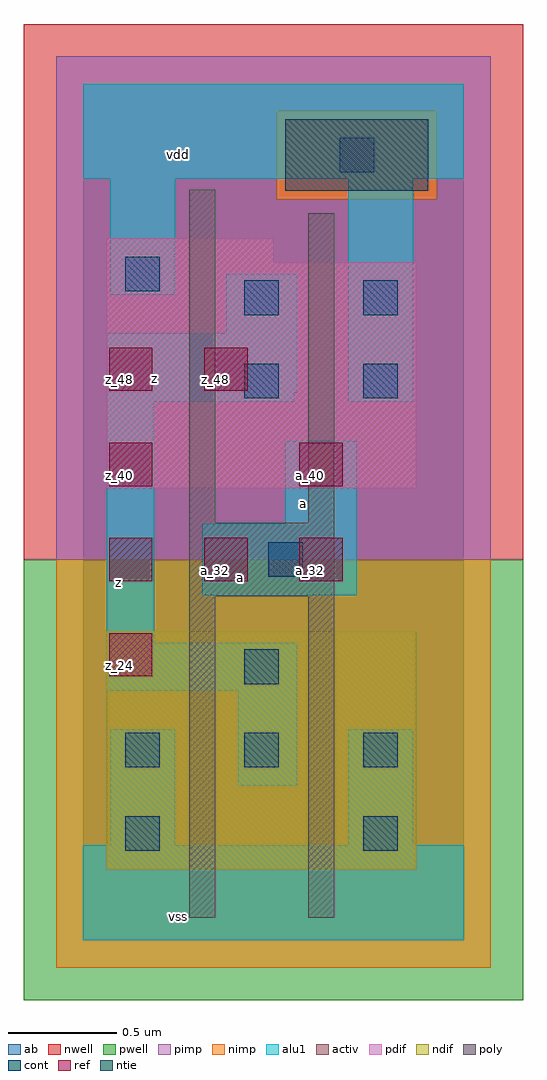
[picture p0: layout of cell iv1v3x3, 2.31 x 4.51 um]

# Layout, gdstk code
import gdstk
lib = gdstk.Library(unit=1e-6, precision=2.5e-09)
def R(c, l, rs):  # rectangles x0, y0, x1, y1
    for r in rs: c.add(gdstk.rectangle(r[:2], r[2:], *l))
def A(c, l, x, y, w, h, nx, ny, dx, dy):  # array of equal rectangles
    R(c, l, [(x+i*dx, y+j*dy, x+i*dx+w, y+j*dy+h) for i in range(nx) for j in range(ny)])
ndif = (3, 0)
pdif = (4, 0)
ntie = (5, 0)
ref = (24, 0)
cont = (25, 0)
pwell = (41, 0)
nwell = (42, 0)
activ = (43, 0)
pimp = (44, 0)
nimp = (45, 0)
poly = (46, 0)
alu1 = (49, 0)
ab = (63, 0)

iv1v3x3 = lib.new_cell('iv1v3x3')
R(iv1v3x3, ndif, [(0.11,0.33,1.54,1.43)])
R(iv1v3x3, pdif, [(0.11,2.09,1.54,3.135), (0.11,3.135,0.88,3.245)])
R(iv1v3x3, ntie, [(0.935,3.465,1.595,3.795)])
A(iv1v3x3, ref, 0.12, 1.66, 0.2, 0.2, 3, 1, 0.44, 0)
R(iv1v3x3, ref, [(0.12,1.22,0.32,1.42), (0.12,2.1,0.32,2.3), (1,2.1,1.2,2.3), (0.12,2.54,0.32,2.74), (0.56,2.54,0.76,2.74)])
A(iv1v3x3, cont, 0.195, 0.8, 0.16, 0.16, 3, 1, 0.55, 0)
R(iv1v3x3, cont, [(0.195,0.415,0.355,0.575), (1.295,0.415,1.455,0.575), (0.745,1.185,0.905,1.345), (0.855,1.68,1.015,1.84), (0.745,2.505,0.905,2.665), (1.295,2.505,1.455,2.665), (0.745,2.89,0.905,3.05), (1.295,2.89,1.455,3.05), (0.195,3,0.355,3.16), (1.185,3.55,1.345,3.71)])
R(iv1v3x3, pwell, [(-0.275,-0.275,2.035,1.76)])
R(iv1v3x3, nwell, [(-0.275,1.76,2.035,4.235)])
R(iv1v3x3, activ, [(0.11,0.33,1.54,1.43), (0.11,2.09,1.54,3.135), (0.11,3.135,0.88,3.245), (0.935,3.465,1.595,3.795)])
R(iv1v3x3, pimp, [(-0.125,1.76,1.885,3.425), (-0.125,3.425,0.895,3.835), (1.635,3.425,1.885,3.835), (-0.125,3.835,1.885,4.085)])
R(iv1v3x3, nimp, [(-0.125,-0.125,1.885,1.76), (0.895,3.425,1.635,3.835)])
R(iv1v3x3, poly, [(0.49,0.105,0.61,1.59), (1.04,0.105,1.16,1.59), (0.49,1.59,1.16,1.93), (0.49,1.93,0.61,3.47), (1.04,1.93,1.16,3.36)])
R(iv1v3x3, alu1, [(0,0,1.76,0.44), (0.125,0.44,0.425,0.975), (1.225,0.44,1.525,0.975), (0.715,0.715,0.99,1.155), (0.11,1.155,0.99,1.375), (0.11,1.375,0.33,2.49), (0.55,1.595,1.265,1.925), (0.935,1.925,1.265,2.31), (0.11,2.49,0.975,2.53), (1.225,2.49,1.525,3.52), (0.11,2.53,0.99,2.805), (0.66,2.805,0.99,3.08), (0.125,2.985,0.425,3.52), (0,3.52,1.76,3.96)])
R(iv1v3x3, ab, [(0,0,1.76,3.96)])
iv1v3x3.add(gdstk.Label('vss', (0.44,0.11), layer=49, texttype=0))
iv1v3x3.add(gdstk.Label('a', (0.7275,1.6775), layer=49, texttype=0))
iv1v3x3.add(gdstk.Label('a', (1.0175,2.02), layer=49, texttype=0))
iv1v3x3.add(gdstk.Label('z', (0.165,1.6525), layer=49, texttype=0))
iv1v3x3.add(gdstk.Label('z', (0.33,2.5975), layer=49, texttype=0))
iv1v3x3.add(gdstk.Label('vdd', (0.44,3.63), layer=49, texttype=0))
iv1v3x3.add(gdstk.Label('z_48', (0.17,2.59), layer=24, texttype=0))
iv1v3x3.add(gdstk.Label('z_40', (0.17,2.15), layer=24, texttype=0))
iv1v3x3.add(gdstk.Label('z_32', (0.17,1.71), layer=24, texttype=0))
iv1v3x3.add(gdstk.Label('z_24', (0.17,1.27), layer=24, texttype=0))
iv1v3x3.add(gdstk.Label('a_40', (1.05,2.15), layer=24, texttype=0))
iv1v3x3.add(gdstk.Label('a_32', (1.05,1.71), layer=24, texttype=0))
iv1v3x3.add(gdstk.Label('z_48', (0.61,2.59), layer=24, texttype=0))
iv1v3x3.add(gdstk.Label('a_32', (0.61,1.71), layer=24, texttype=0))

lib.write_gds('iv1v3x3.gds')
